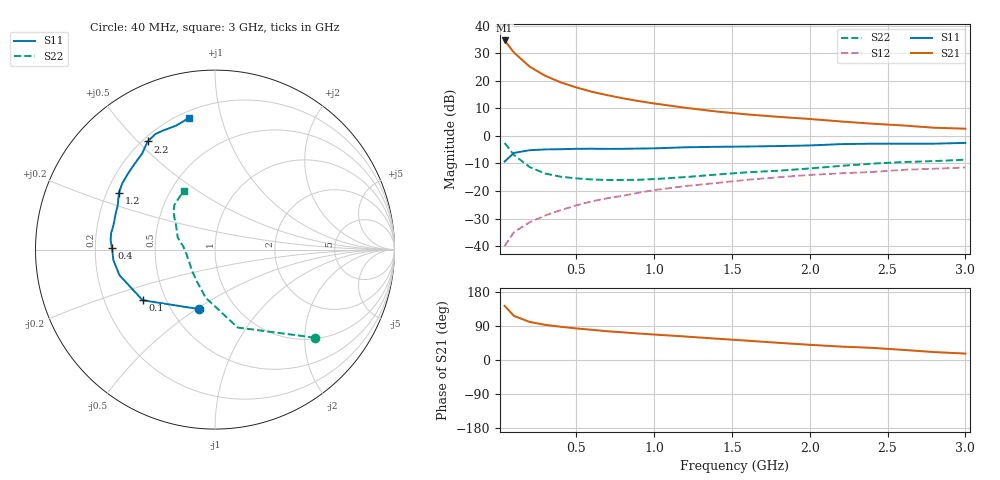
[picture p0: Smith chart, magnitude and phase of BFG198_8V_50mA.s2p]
! Filename:  BFG198I.S2P  Version:  2.0
! Philips part #: BFG198  Date: Jul 1990
! Bias condition: Vce=8V, Ic=50mA
#  MHz  S  MA  R  50
! Freq  S11  S21  S12  S22  !GUM [dB]
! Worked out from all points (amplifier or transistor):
!   21 points, 40 MHz to 3 GHz, reference 50 ohm
!   highest |S21| = 34.6 dB at 40 MHz (marker M1)
!   |S21| within 3 dB of that: start of sweep to 81.13 MHz
!   unconditionally stable (mu >= 1): 378.5 MHz to 2.103 GHz; 2.73 GHz to 2.832 GHz
!   at 300 MHz: K = 0.95, MSG = 25.4 dB, |S12| = -28.9 dB
!   at 1 GHz: K = 1.07, MAG = 14.1 dB, |S12| = -19.7 dB
!   at 3 GHz: K = 0.96, MSG = 7.0 dB, |S12| = -11.4 dB
!   S11 on the Smith chart (normalised r, x): 40 MHz: 0.68, -0.51; 100 MHz: 0.37, -0.28; 400 MHz: 0.27, +0.01; 1.2 GHz: 0.25, +0.26; 2.2 GHz: 0.22, +0.53; 3 GHz: 0.24, +0.80
40  0.343 -105.0  53.98 142.8  0.01 73.1  0.744 -41.3
100  0.492 -145.0  32.61 116.4  0.018 61.2  0.452 -73.8
200  0.551 -165.0  18.16 100.5  0.027 62.2  0.273 -101.0
300  0.569 -174.0  12.36 92.8  0.036 66.8  0.208 -118.0
400  0.574 179.2  9.375 87.7  0.045 68.5  0.182 -131.0
500  0.584 174.8  7.59 83.3  0.055 69.4  0.17 -141.0
600  0.586 171.1  6.337 79.7  0.065 70.7  0.162 -149.0
700  0.582 167.0  5.488 75.9  0.074 70.7  0.159 -157.0
800  0.584 163.2  4.822 72.9  0.082 69.9  0.159 -163.0
900  0.59 159.1  4.296 69.9  0.093 69.6  0.16 -170.0
1000  0.595 155.7  3.885 67.2  0.104 69.6  0.165 -176.0
1200  0.622 149.4  3.245 62.0  0.123 67.7  0.179 173.5
1400  0.635 144.5  2.777 56.3  0.14 65.6  0.199 167.5
1600  0.643 139.2  2.455 51.0  0.16 64.6  0.219 161.7
1800  0.655 133.2  2.22 45.3  0.178 60.5  0.234 154.8
2000  0.672 127.1  2.03 40.1  0.196 59.1  0.257 147.8
2200  0.71 121.9  1.83 35.4  0.21 55.9  0.286 142.2
2400  0.724 117.4  1.669 32.1  0.222 55.3  0.314 137.2
2600  0.724 114.1  1.549 26.7  0.243 51.6  0.336 132.5
2800  0.724 107.4  1.409 20.9  0.254 47.0  0.35 125.5
3000  0.748 101.0  1.353 17.0  0.268 45.8  0.37 118.3
